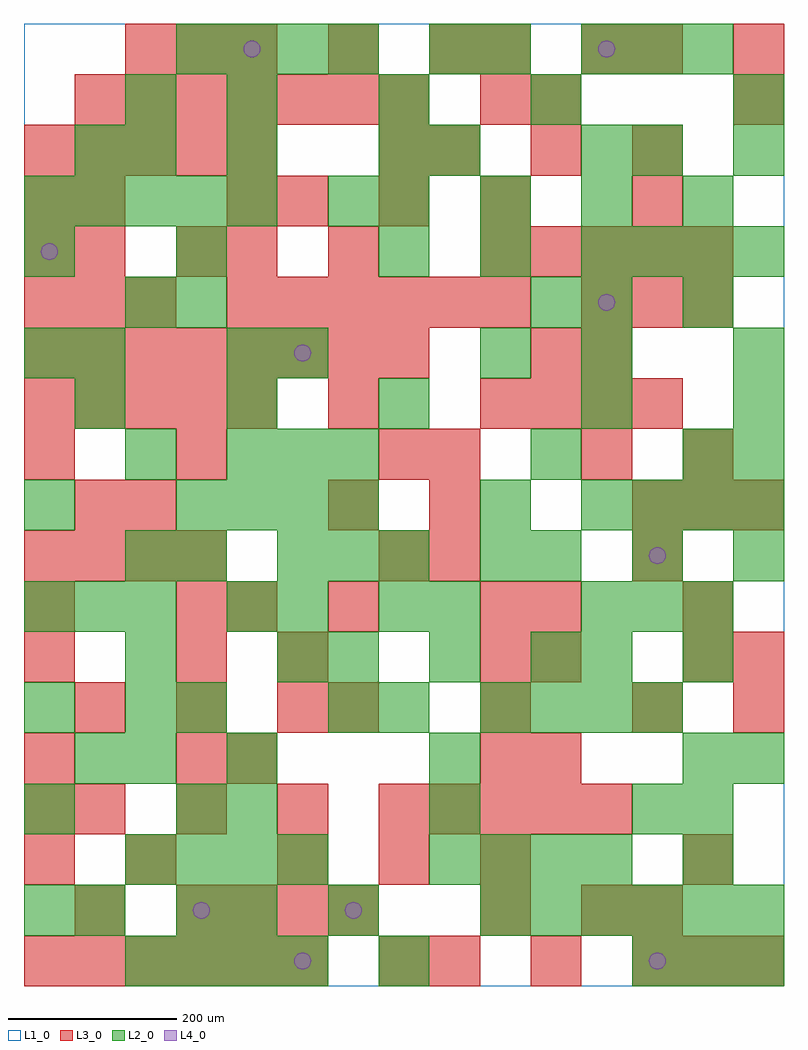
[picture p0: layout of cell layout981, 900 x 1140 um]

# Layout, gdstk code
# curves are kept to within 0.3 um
import gdstk
lib = gdstk.Library(unit=1e-6, precision=1e-09)
def R(c, l, rs):  # rectangles x0, y0, x1, y1
    for r in rs: c.add(gdstk.rectangle(r[:2], r[2:], *l))
def A(c, l, x, y, w, h, nx, ny, dx, dy):  # array of equal rectangles
    R(c, l, [(x+i*dx, y+j*dy, x+i*dx+w, y+j*dy+h) for i in range(nx) for j in range(ny)])
def P(c, l, *ps):  # polygons
    for p in ps: c.add(gdstk.Polygon(p, *l))
L1_0 = (1, 0)
L2_0 = (2, 0)
L3_0 = (3, 0)
L4_0 = (4, 0)

layout981 = lib.new_cell('layout981')
R(layout981, L1_0, [(0,0,900,1140)])
A(layout981, L2_0, 120, 0, 60, 60, 4, 2, 60, 120)
A(layout981, L2_0, 720, 0, 60, 60, 3, 2, 60, 840)
A(layout981, L2_0, 0, 60, 60, 60, 1, 3, 0, 120)
A(layout981, L2_0, 180, 60, 60, 60, 1, 3, 0, 120)
A(layout981, L2_0, 240, 60, 60, 60, 1, 3, 0, 180)
A(layout981, L2_0, 540, 60, 60, 60, 6, 1, 60, 0)
A(layout981, L2_0, 480, 120, 60, 60, 4, 1, 60, 0)
A(layout981, L2_0, 780, 120, 60, 60, 1, 3, 0, 60)
A(layout981, L2_0, 240, 180, 60, 60, 3, 1, 240, 0)
A(layout981, L2_0, 120, 240, 60, 60, 1, 3, 0, 60)
A(layout981, L2_0, 540, 300, 60, 60, 4, 1, 60, 0)
A(layout981, L2_0, 360, 360, 60, 60, 3, 1, 120, 0)
A(layout981, L2_0, 0, 420, 60, 60, 3, 1, 60, 0)
A(layout981, L2_0, 660, 420, 60, 60, 3, 2, 60, 660)
A(layout981, L2_0, 300, 480, 60, 60, 3, 1, 60, 0)
A(layout981, L2_0, 600, 480, 60, 60, 3, 1, 120, 0)
A(layout981, L2_0, 180, 540, 60, 60, 4, 2, 60, 540)
A(layout981, L2_0, 660, 540, 60, 60, 4, 1, 60, 0)
A(layout981, L2_0, 120, 600, 60, 60, 1, 3, 0, 180)
A(layout981, L2_0, 240, 600, 60, 60, 3, 1, 60, 0)
A(layout981, L2_0, 840, 600, 60, 60, 1, 3, 0, 60)
A(layout981, L2_0, 60, 660, 60, 60, 3, 1, 180, 0)
A(layout981, L2_0, 660, 660, 60, 60, 1, 3, 0, 60)
A(layout981, L2_0, 420, 840, 60, 60, 3, 1, 120, 0)
A(layout981, L2_0, 0, 900, 60, 60, 5, 1, 60, 0)
A(layout981, L2_0, 420, 900, 60, 60, 4, 1, 120, 0)
A(layout981, L2_0, 240, 1020, 60, 60, 3, 1, 180, 0)
R(layout981, L2_0, [(420,0,480,60), (60,60,120,120), (360,60,420,120), (60,240,120,300), (480,240,540,300), (840,240,900,300), (360,300,420,360), (420,300,480,360), (300,360,360,420), (660,360,720,420), (780,360,840,420), (300,420,360,480), (420,420,480,480), (480,420,540,480), (120,480,180,540), (180,480,240,540), (540,480,600,540), (0,540,60,600), (540,540,600,600), (600,600,660,660), (780,600,840,660), (0,720,60,780), (60,720,120,780), (240,720,300,780), (300,720,360,780), (540,720,600,780), (180,780,240,840), (600,780,660,840), (780,780,840,840), (0,840,60,900), (180,840,240,900), (360,900,420,960), (60,960,120,1020), (240,960,300,1020), (420,960,480,1020), (480,960,540,1020), (660,960,720,1020), (720,960,780,1020), (840,960,900,1020), (120,1020,180,1080), (840,1020,900,1080), (480,1080,540,1140), (540,1080,600,1140)])
A(layout981, L3_0, 0, 0, 60, 60, 6, 1, 60, 0)
A(layout981, L3_0, 480, 0, 60, 60, 3, 2, 120, 960)
A(layout981, L3_0, 180, 60, 60, 60, 4, 1, 60, 0)
A(layout981, L3_0, 720, 60, 60, 60, 1, 3, 0, 420)
A(layout981, L3_0, 0, 120, 60, 60, 1, 3, 0, 60)
A(layout981, L3_0, 300, 120, 60, 60, 3, 2, 120, 780)
A(layout981, L3_0, 60, 180, 60, 60, 4, 1, 120, 0)
A(layout981, L3_0, 480, 180, 60, 60, 4, 1, 60, 0)
A(layout981, L3_0, 60, 300, 60, 60, 3, 1, 120, 0)
A(layout981, L3_0, 360, 300, 60, 60, 3, 1, 180, 0)
A(layout981, L3_0, 360, 420, 60, 60, 1, 3, 0, 120)
A(layout981, L3_0, 600, 420, 60, 60, 1, 3, 0, 300)
A(layout981, L3_0, 0, 480, 60, 60, 4, 1, 60, 0)
A(layout981, L3_0, 480, 480, 60, 60, 1, 3, 0, 60)
A(layout981, L3_0, 720, 540, 60, 60, 3, 1, 60, 0)
A(layout981, L3_0, 0, 660, 60, 60, 5, 2, 60, 300)
A(layout981, L3_0, 540, 660, 60, 60, 4, 1, 60, 0)
A(layout981, L3_0, 0, 720, 60, 60, 8, 1, 60, 0)
A(layout981, L3_0, 0, 780, 60, 60, 3, 1, 60, 0)
A(layout981, L3_0, 240, 780, 60, 60, 6, 1, 60, 0)
A(layout981, L3_0, 660, 780, 60, 60, 3, 1, 60, 0)
A(layout981, L3_0, 540, 840, 60, 60, 5, 1, 60, 0)
A(layout981, L3_0, 60, 1020, 60, 60, 7, 1, 60, 0)
A(layout981, L3_0, 120, 1080, 60, 60, 3, 1, 60, 0)
R(layout981, L3_0, [(420,0,480,60), (780,0,840,60), (840,0,900,60), (60,60,120,120), (540,60,600,120), (660,60,720,120), (120,120,180,180), (780,120,840,180), (180,240,240,300), (240,240,300,300), (540,240,600,300), (600,240,660,300), (840,300,900,360), (0,360,60,420), (180,360,240,420), (300,360,360,420), (540,360,600,420), (600,360,660,420), (780,360,840,420), (840,360,900,420), (0,420,60,480), (180,420,240,480), (240,420,300,480), (540,420,600,480), (780,420,840,480), (420,480,480,540), (60,540,120,600), (120,540,180,600), (0,600,60,660), (180,600,240,660), (420,600,480,660), (660,600,720,660), (780,600,840,660), (660,720,720,780), (0,840,60,900), (60,840,120,900), (180,840,240,900), (240,840,300,900), (360,840,420,900), (0,900,60,960), (60,900,120,960), (240,900,300,960), (420,960,480,1020), (540,1020,600,1080), (840,1020,900,1080), (360,1080,420,1140), (480,1080,540,1140), (540,1080,600,1140), (660,1080,720,1140), (720,1080,780,1140), (840,1080,900,1140)])
P(layout981, L4_0, [(40,870),(39.239,873.827),(37.071,877.071),(33.827,879.239),(30,880),(26.173,879.239),(22.929,877.071),(20.761,873.827),(20,870),(20.761,866.173),(22.929,862.929),(26.173,860.761),(30,860),(33.827,860.761),(37.071,862.929),(39.239,866.173)],
  [(220,90),(219.239,93.827),(217.071,97.071),(213.827,99.239),(210,100),(206.173,99.239),(202.929,97.071),(200.761,93.827),(200,90),(200.761,86.173),(202.929,82.929),(206.173,80.761),(210,80),(213.827,80.761),(217.071,82.929),(219.239,86.173)],
  [(280,1110),(279.239,1113.827),(277.071,1117.071),(273.827,1119.239),(270,1120),(266.173,1119.239),(262.929,1117.071),(260.761,1113.827),(260,1110),(260.761,1106.173),(262.929,1102.929),(266.173,1100.761),(270,1100),(273.827,1100.761),(277.071,1102.929),(279.239,1106.173)],
  [(340,30),(339.239,33.827),(337.071,37.071),(333.827,39.239),(330,40),(326.173,39.239),(322.929,37.071),(320.761,33.827),(320,30),(320.761,26.173),(322.929,22.929),(326.173,20.761),(330,20),(333.827,20.761),(337.071,22.929),(339.239,26.173)],
  [(340,750),(339.239,753.827),(337.071,757.071),(333.827,759.239),(330,760),(326.173,759.239),(322.929,757.071),(320.761,753.827),(320,750),(320.761,746.173),(322.929,742.929),(326.173,740.761),(330,740),(333.827,740.761),(337.071,742.929),(339.239,746.173)],
  [(400,90),(399.239,93.827),(397.071,97.071),(393.827,99.239),(390,100),(386.173,99.239),(382.929,97.071),(380.761,93.827),(380,90),(380.761,86.173),(382.929,82.929),(386.173,80.761),(390,80),(393.827,80.761),(397.071,82.929),(399.239,86.173)],
  [(700,810),(699.239,813.827),(697.071,817.071),(693.827,819.239),(690,820),(686.173,819.239),(682.929,817.071),(680.761,813.827),(680,810),(680.761,806.173),(682.929,802.929),(686.173,800.761),(690,800),(693.827,800.761),(697.071,802.929),(699.239,806.173)],
  [(700,1110),(699.239,1113.827),(697.071,1117.071),(693.827,1119.239),(690,1120),(686.173,1119.239),(682.929,1117.071),(680.761,1113.827),(680,1110),(680.761,1106.173),(682.929,1102.929),(686.173,1100.761),(690,1100),(693.827,1100.761),(697.071,1102.929),(699.239,1106.173)],
  [(760,30),(759.239,33.827),(757.071,37.071),(753.827,39.239),(750,40),(746.173,39.239),(742.929,37.071),(740.761,33.827),(740,30),(740.761,26.173),(742.929,22.929),(746.173,20.761),(750,20),(753.827,20.761),(757.071,22.929),(759.239,26.173)],
  [(760,510),(759.239,513.827),(757.071,517.071),(753.827,519.239),(750,520),(746.173,519.239),(742.929,517.071),(740.761,513.827),(740,510),(740.761,506.173),(742.929,502.929),(746.173,500.761),(750,500),(753.827,500.761),(757.071,502.929),(759.239,506.173)])

lib.write_gds('layout981.gds')
